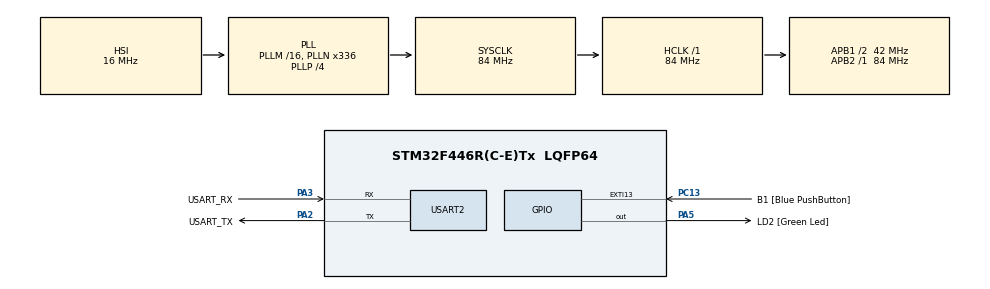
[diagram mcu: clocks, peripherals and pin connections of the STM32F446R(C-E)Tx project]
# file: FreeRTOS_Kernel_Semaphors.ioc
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Mcu.Family=STM32F4
Mcu.Name=STM32F446R(C-E)Tx
Mcu.Package=LQFP64
NVIC.PriorityGroup=NVIC_PRIORITYGROUP_4
NVIC.TIM6_DAC_IRQn=true\:0\:0\:false\:false\:true\:false\:true\:true
NVIC.TimeBase=TIM6_DAC_IRQn
NVIC.TimeBaseIP=TIM6
PA13.GPIO_Label=TMS
PA13.Mode=Serial_Wire
PA13.Signal=SYS_JTMS-SWDIO
PA14.GPIO_Label=TCK
PA14.Mode=Serial_Wire
PA14.Signal=SYS_JTCK-SWCLK
PA2.GPIO_Label=USART_TX
PA2.Mode=Asynchronous
PA2.Signal=USART2_TX
PA3.GPIO_Label=USART_RX
PA3.Mode=Asynchronous
PA3.Signal=USART2_RX
PA5.GPIO_Label=LD2 [Green Led]
PA5.Signal=GPIO_Output
PB3.GPIO_Label=SWO
PB3.Signal=SYS_JTDO-SWO
PC13.GPIO_Label=B1 [Blue PushButton]
PC13.GPIO_ModeDefaultEXTI=GPIO_MODE_IT_FALLING
PC13.Signal=GPXTI13
PC14-OSC32_IN.Mode=LSE-External-Oscillator
PC14-OSC32_IN.Signal=RCC_OSC32_IN
PC15-OSC32_OUT.Mode=LSE-External-Oscillator
PC15-OSC32_OUT.Signal=RCC_OSC32_OUT
PH0-OSC_IN.Mode=HSE-External-Oscillator
PH0-OSC_IN.Signal=RCC_OSC_IN
PH1-OSC_OUT.Mode=HSE-External-Oscillator
PH1-OSC_OUT.Signal=RCC_OSC_OUT
ProjectManager.HeapSize=0x200
ProjectManager.StackSize=0x400
ProjectManager.TargetToolchain=STM32CubeIDE
RCC.48MHZClocksFreq_Value=84000000
RCC.AHBFreq_Value=84000000
RCC.APB1CLKDivider=RCC_HCLK_DIV2
RCC.APB1Freq_Value=42000000
RCC.APB1TimFreq_Value=84000000
RCC.APB2Freq_Value=84000000
RCC.APB2TimFreq_Value=84000000
RCC.CortexFreq_Value=84000000
RCC.FLatency-AdvancedSettings=FLASH_LATENCY_2
RCC.HCLKFreq_Value=84000000
RCC.HSE_VALUE=8000000
RCC.HSI_VALUE=16000000
RCC.PLLN=336
RCC.PLLP=RCC_PLLP_DIV4
RCC.SYSCLKFreq_VALUE=84000000
RCC.SYSCLKSource=RCC_SYSCLKSOURCE_PLLCLK
RCC.USBFreq_Value=168000000
RCC.VCOOutputFreq_Value=336000000
USART2.VirtualMode=VM_ASYNC
VP_SYS_VS_tim6.Mode=TIM6
board=NUCLEO-F446RE

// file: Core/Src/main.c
/* USER CODE BEGIN Header */
/**
  ******************************************************************************
  * @file           : main.c
  * @brief          : Main program body
  ******************************************************************************
  * @attention
  *
  * Copyright (c) 2025 STMicroelectronics.
  * All rights reserved.
  *
  * This software is licensed under terms that can be found in the LICENSE file
  * in the root directory of this software component.
  * If no LICENSE file comes with this software, it is provided AS-IS.
  *
  ******************************************************************************
  */
/* USER CODE END Header */
#include "main.h"

/* USER CODE BEGIN Includes */
#include "FreeRTOS.h"
#include "task.h"
#include "queue.h"
#include "semphr.h"
#include <string.h>
/* USER CODE END Includes */

UART_HandleTypeDef huart2;

/* USER CODE BEGIN PV */
QueueHandle_t messageQueue;
SemaphoreHandle_t uartSemaphore;
TaskHandle_t senderHandle;
TaskHandle_t receiverHandle;
/* USER CODE END PV */

void SystemClock_Config(void);
static void MX_GPIO_Init(void);
static void MX_USART2_UART_Init(void);
/* USER CODE BEGIN PFP */
void senderTask(void *parameters);
void receiverTask(void *parameters);

/* USER CODE END PFP */

int main(void)
{

  /* MCU Configuration--------------------------------------------------------*/

  /* Reset of all peripherals, Initializes the Flash interface and the Systick. */
  HAL_Init();

  /* Configure the system clock */
  SystemClock_Config();

  /* Initialize all configured peripherals */
  MX_GPIO_Init();
  MX_USART2_UART_Init();
  /* USER CODE BEGIN 2 */

  /* Create Queue */
  messageQueue = xQueueCreate(5, sizeof(char *));
  configASSERT(messageQueue != NULL);

  /* Create Semaphore */
  uartSemaphore = xSemaphoreCreateBinary();
  configASSERT(uartSemaphore != NULL);

  /* Initially give semaphore to allow first print */
  xSemaphoreGive(uartSemaphore);

  /* Create Tasks */
  xTaskCreate(senderTask, "Sender", 512, NULL, 2, &senderHandle);
  xTaskCreate(receiverTask, "Receiver", 512, NULL, 1, &receiverHandle);

  vTaskStartScheduler();

  /* USER CODE END 2 */

  /* Infinite loop */
  while (1)
  {

  }
}

void SystemClock_Config(void)
{
  RCC_OscInitTypeDef RCC_OscInitStruct = {0};
  RCC_ClkInitTypeDef RCC_ClkInitStruct = {0};

  /** Configure the main internal regulator output voltage
  */
  __HAL_RCC_PWR_CLK_ENABLE();
  __HAL_PWR_VOLTAGESCALING_CONFIG(PWR_REGULATOR_VOLTAGE_SCALE3);

  /** Initializes the RCC Oscillators according to the specified parameters
  * in the RCC_OscInitTypeDef structure.
  */
  RCC_OscInitStruct.OscillatorType = RCC_OSCILLATORTYPE_HSI;
  RCC_OscInitStruct.HSIState = RCC_HSI_ON;
  RCC_OscInitStruct.HSICalibrationValue = RCC_HSICALIBRATION_DEFAULT;
  RCC_OscInitStruct.PLL.PLLState = RCC_PLL_ON;
  RCC_OscInitStruct.PLL.PLLSource = RCC_PLLSOURCE_HSI;
  RCC_OscInitStruct.PLL.PLLM = 16;
  RCC_OscInitStruct.PLL.PLLN = 336;
  RCC_OscInitStruct.PLL.PLLP = RCC_PLLP_DIV4;
  RCC_OscInitStruct.PLL.PLLQ = 2;
  RCC_OscInitStruct.PLL.PLLR = 2;
  if (HAL_RCC_OscConfig(&RCC_OscInitStruct) != HAL_OK)
  {
    Error_Handler();
  }

  /** Initializes the CPU, AHB and APB buses clocks
  */
  RCC_ClkInitStruct.ClockType = RCC_CLOCKTYPE_HCLK|RCC_CLOCKTYPE_SYSCLK
                              |RCC_CLOCKTYPE_PCLK1|RCC_CLOCKTYPE_PCLK2;
  RCC_ClkInitStruct.SYSCLKSource = RCC_SYSCLKSOURCE_PLLCLK;
  RCC_ClkInitStruct.AHBCLKDivider = RCC_SYSCLK_DIV1;
  RCC_ClkInitStruct.APB1CLKDivider = RCC_HCLK_DIV2;
  RCC_ClkInitStruct.APB2CLKDivider = RCC_HCLK_DIV1;

  if (HAL_RCC_ClockConfig(&RCC_ClkInitStruct, FLASH_LATENCY_2) != HAL_OK)
  {
    Error_Handler();
  }
}

static void MX_USART2_UART_Init(void)
{

  huart2.Instance = USART2;
  huart2.Init.BaudRate = 115200;
  huart2.Init.WordLength = UART_WORDLENGTH_8B;
  huart2.Init.StopBits = UART_STOPBITS_1;
  huart2.Init.Parity = UART_PARITY_NONE;
  huart2.Init.Mode = UART_MODE_TX_RX;
  huart2.Init.HwFlowCtl = UART_HWCONTROL_NONE;
  huart2.Init.OverSampling = UART_OVERSAMPLING_16;
  if (HAL_UART_Init(&huart2) != HAL_OK)
  {
    Error_Handler();
  }

}

static void MX_GPIO_Init(void)
{
  GPIO_InitTypeDef GPIO_InitStruct = {0};

  /* GPIO Ports Clock Enable */
  __HAL_RCC_GPIOC_CLK_ENABLE();
  __HAL_RCC_GPIOH_CLK_ENABLE();
  __HAL_RCC_GPIOA_CLK_ENABLE();
  __HAL_RCC_GPIOB_CLK_ENABLE();

  /*Configure GPIO pin Output Level */
  HAL_GPIO_WritePin(LD2_GPIO_Port, LD2_Pin, GPIO_PIN_RESET);

  /*Configure GPIO pin : B1_Pin */
  GPIO_InitStruct.Pin = B1_Pin;
  GPIO_InitStruct.Mode = GPIO_MODE_IT_FALLING;
  GPIO_InitStruct.Pull = GPIO_NOPULL;
  HAL_GPIO_Init(B1_GPIO_Port, &GPIO_InitStruct);

  /*Configure GPIO pin : LD2_Pin */
  GPIO_InitStruct.Pin = LD2_Pin;
  GPIO_InitStruct.Mode = GPIO_MODE_OUTPUT_PP;
  GPIO_InitStruct.Pull = GPIO_NOPULL;
  GPIO_InitStruct.Speed = GPIO_SPEED_FREQ_LOW;
  HAL_GPIO_Init(LD2_GPIO_Port, &GPIO_InitStruct);

}

/* USER CODE BEGIN 4 */
/* Sender Task */
void senderTask(void *parameters)
{
    const char *msg1 = "Hello from Queue using Semaphores message 1\r\n";
    const char *msg2 = "Hello from Queue using Semaphores message 2\r\n";

    for (;;)
    {
        if (xSemaphoreTake(uartSemaphore, portMAX_DELAY) == pdTRUE)
        {
            xQueueSend(messageQueue, &msg1, portMAX_DELAY);
        }
        vTaskDelay(pdMS_TO_TICKS(1000));

        if (xSemaphoreTake(uartSemaphore, portMAX_DELAY) == pdTRUE)
        {
            xQueueSend(messageQueue, &msg2, portMAX_DELAY);
        }
        vTaskDelay(pdMS_TO_TICKS(1000));
    }
}

/* Receiver Task */
void receiverTask(void *parameters)
{
    char *receivedMsg;

    for (;;)
    {
        if (xQueueReceive(messageQueue, &receivedMsg, portMAX_DELAY) == pdPASS)
        {
            HAL_UART_Transmit(&huart2, (uint8_t *)receivedMsg,
                              strlen(receivedMsg), HAL_MAX_DELAY);
            /* Give semaphore back to sender to send next message */
            xSemaphoreGive(uartSemaphore);
        }
    }
}
/* USER CODE END 4 */

void HAL_TIM_PeriodElapsedCallback(TIM_HandleTypeDef *htim)
{
  if (htim->Instance == TIM6) {
    HAL_IncTick();
  }
}

void Error_Handler(void)
{
  __disable_irq();
  while (1)
  {
  }
}
